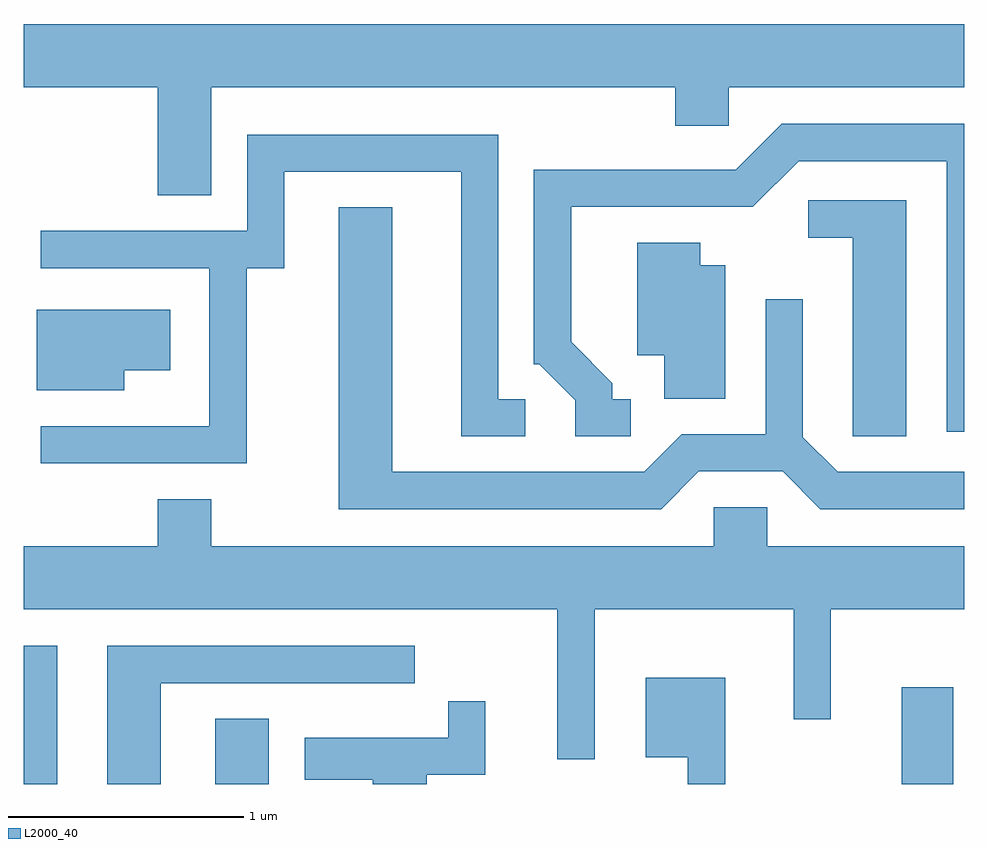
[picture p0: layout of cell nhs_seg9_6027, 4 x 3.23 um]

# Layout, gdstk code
import gdstk
lib = gdstk.Library(unit=1e-6, precision=1e-09)
def R(c, l, rs):  # rectangles x0, y0, x1, y1
    for r in rs: c.add(gdstk.rectangle(r[:2], r[2:], *l))
def P(c, l, *ps):  # polygons
    for p in ps: c.add(gdstk.Polygon(p, *l))
L2000_40 = (2000, 40)

nhs_seg9_6027 = lib.new_cell('nhs_seg9_6027')
R(nhs_seg9_6027, L2000_40, [(363.611,1964.432,363.754,1965.019), (364.426,1964.432,364.654,1964.709), (367.346,1964.432,367.564,1964.844)])
P(nhs_seg9_6027, L2000_40, [(364.409,1967.396),(366.381,1967.396),(366.381,1967.231),(366.609,1967.231),(366.609,1967.396),(367.611,1967.396),(367.611,1967.664),(363.611,1967.664),(363.611,1967.396),(364.181,1967.396),(364.181,1966.936),(364.409,1966.936)],
  [(366.193,1966.069),(366.114,1966.069),(366.114,1966.137),(365.939,1966.312),(365.939,1966.886),(366.712,1966.886),(366.907,1967.081),(367.536,1967.081),(367.536,1965.931),(367.611,1965.931),(367.611,1967.239),(366.834,1967.239),(366.639,1967.044),(365.781,1967.044),(365.781,1966.216),(365.804,1966.216),(365.956,1966.064),(365.956,1965.911),(366.193,1965.911)],
  [(364.559,1966.626),(364.719,1966.626),(364.719,1967.036),(365.471,1967.036),(365.471,1965.911),(365.743,1965.911),(365.743,1966.069),(365.629,1966.069),(365.629,1967.194),(364.561,1967.194),(364.561,1966.784),(363.683,1966.784),(363.683,1966.626),(364.401,1966.626),(364.401,1965.954),(363.683,1965.954),(363.683,1965.796),(364.559,1965.796)],
  [(367.364,1966.914),(366.948,1966.914),(366.948,1966.756),(367.136,1966.756),(367.136,1965.911),(367.364,1965.911)],
  [(366.482,1965.761),(366.839,1965.761),(366.999,1965.601),(367.611,1965.601),(367.611,1965.759),(367.072,1965.759),(366.924,1965.907),(366.924,1966.493),(366.766,1966.493),(366.766,1965.919),(366.409,1965.919),(366.249,1965.759),(365.179,1965.759),(365.179,1966.884),(364.951,1966.884),(364.951,1965.601),(366.322,1965.601)],
  [(366.594,1966.639),(366.489,1966.639),(366.489,1966.734),(366.221,1966.734),(366.221,1966.256),(366.336,1966.256),(366.336,1966.071),(366.594,1966.071)],
  [(364.039,1966.191),(364.234,1966.191),(364.234,1966.449),(363.666,1966.449),(363.666,1966.106),(364.039,1966.106)],
  [(366.039,1965.176),(366.886,1965.176),(366.886,1964.708),(367.044,1964.708),(367.044,1965.176),(367.611,1965.176),(367.611,1965.444),(366.774,1965.444),(366.774,1965.609),(366.546,1965.609),(366.546,1965.444),(364.409,1965.444),(364.409,1965.644),(364.181,1965.644),(364.181,1965.444),(363.611,1965.444),(363.611,1965.176),(365.881,1965.176),(365.881,1964.538),(366.039,1964.538)],
  [(364.194,1964.861),(365.273,1964.861),(365.273,1965.019),(363.966,1965.019),(363.966,1964.432),(364.194,1964.432)],
  [(366.594,1964.884),(366.256,1964.884),(366.256,1964.546),(366.436,1964.546),(366.436,1964.432),(366.594,1964.432)],
  [(365.324,1964.471),(365.574,1964.471),(365.574,1964.783),(365.416,1964.783),(365.416,1964.629),(364.806,1964.629),(364.806,1964.451),(365.096,1964.451),(365.096,1964.432),(365.324,1964.432)])

lib.write_gds('nhs_seg9_6027.gds')
